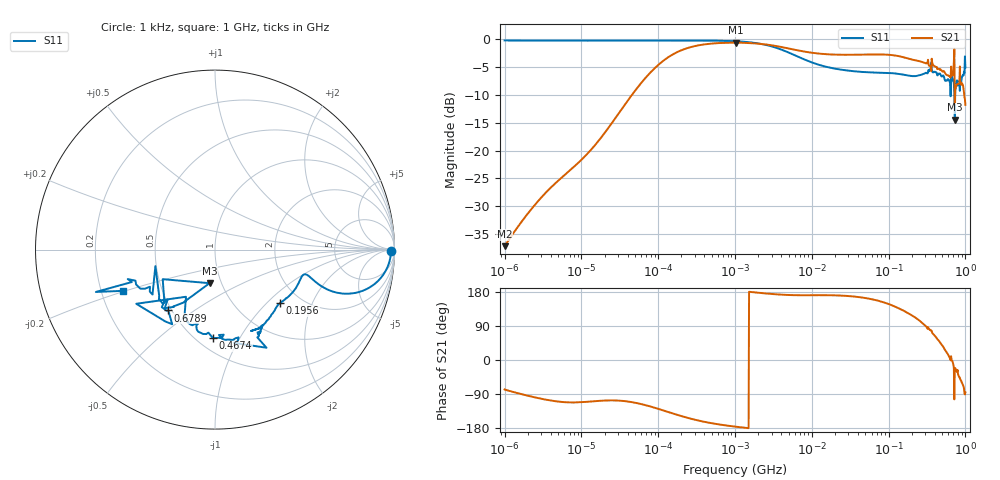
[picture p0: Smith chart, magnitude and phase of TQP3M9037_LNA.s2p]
! ListType=Log
# MHZ S RI R 50
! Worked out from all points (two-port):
!   1000 points, 1 kHz to 1 GHz, reference 50 ohm
!   highest |S21| = -0.57 dB at 1.021 MHz (marker M1); lowest = -37.2 dB at 1 kHz (marker M2)
!   |S21| within 3 dB of the highest: 123.5 kHz to 196.9 MHz (196.8 MHz wide, 200 % of centre); 364.1364 MHz to 365.2016 MHz (1.065 MHz wide, 0.292 % of centre)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
!   lowest |S11| = -14.4 dB at 727.5 MHz (marker M3), VSWR 1.47, Z = 44 - j17.1 ohm
!   |S11| at or under -10 dB: 641.6621 MHz to 642.8116 MHz (1.149 MHz wide, 0.179 % of centre); 718.6 MHz to 736.2 MHz (17.64 MHz wide, 2.43 % of centre)
!   S12 and S22 are empty: the file has one direction only
!   S11 on the Smith chart (normalised r, x): 1 kHz: 88, -31; 195.6 MHz: 1.58, -1.21; 467.4 MHz: 0.60, -0.78; 678.9 MHz: 0.48, -0.40; 1 GHz: 0.29, -0.20
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0.001  0.9799 -0.00712  0.00293 -0.0135  0 0  0 0
0.0029408  0.9772 -0.00309  -0.00767 -0.0365  0 0  0 0
0.0100694  0.977 -0.00161  -0.0302 -0.0773  0 0  0 0
0.0407014  0.9772 -0.00334  -0.0963 -0.2689  0 0  0 0
0.1013925  0.9783 -0.00891  -0.3761 -0.4604  0 0  0 0
0.3023295  0.9785 -0.0303  -0.808 -0.3309  0 0  0 0
1.006939  0.9593 -0.1015  -0.9341 -0.0672  0 0  0 0
1.020961  0.9587 -0.1029  -0.9343 -0.0649  0 0  0 0
3.904735  0.7802 -0.2416  -0.8518 0.1109  0 0  0 0
10.13925  0.5867 -0.1998  -0.7492 0.1198  0 0  0 0
36.69142  0.4979 -0.138  -0.7109 0.1617  0 0  0 0
100.6939  0.4543 -0.2079  -0.614 0.3913  0 0  0 0
195.5651  0.3638 -0.2971  -0.3237 0.5792  0 0  0 0
308.6665  0.2657 -0.4214  0.0213 0.6085  0 0  0 0
390.4735  0.1059 -0.4994  0.2319 0.5297  0 0  0 0
467.3795  -0.0119 -0.4933  0.3635 0.3885  0 0  0 0
660.4194  -0.276 -0.4007  0.4763 0.00701  0 0  0 0
678.9407  -0.2604 -0.3388  0.4741 -0.029  0 0  0 0
727.5484  -0.0304 -0.1871  0.245 -0.0999  0 0  0 0
779.636  -0.2792 -0.3248  0.334 -0.207  0 0  0 0
895.2657  -0.3911 -0.2181  0.2089 -0.3481  0 0  0 0
1000  -0.5107 -0.2296  0.0205 -0.2573  0 0  0 0
